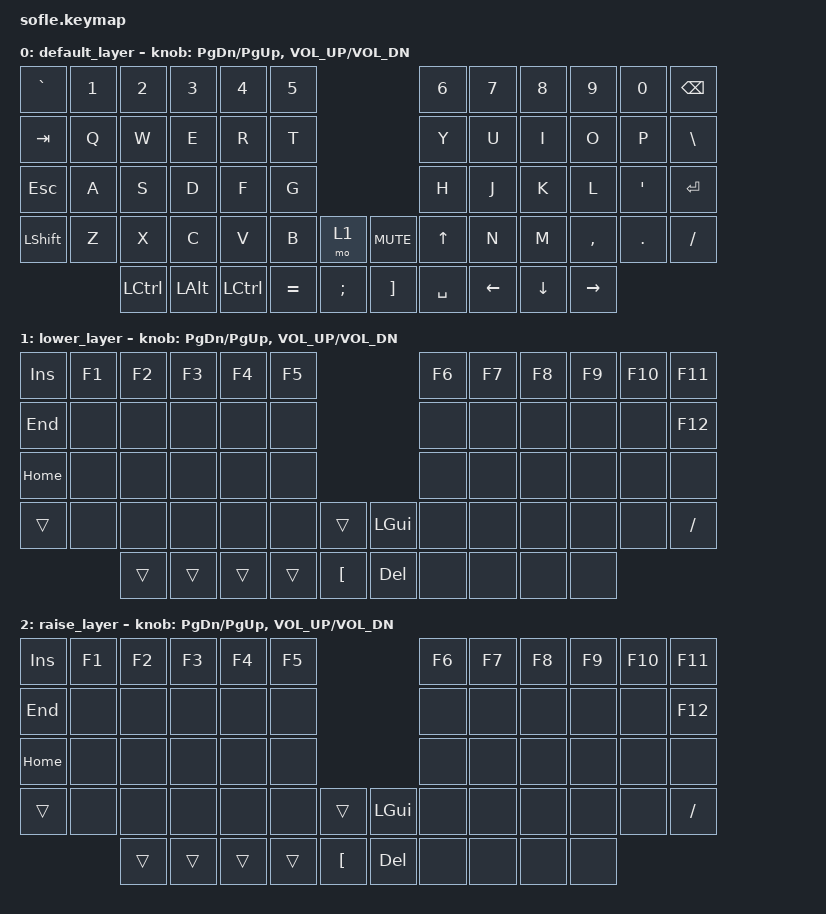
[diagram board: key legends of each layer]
/*
 * Copyright (c) 2020 The ZMK Contributors
 *
 * SPDX-License-Identifier: MIT
 */

#include <behaviors.dtsi>
#include <dt-bindings/zmk/bt.h>
#include <dt-bindings/zmk/ext_power.h>
#include <dt-bindings/zmk/keys.h>

/ {
    keymap {
        compatible = "zmk,keymap";

        default_layer {
            // ------------------------------------------------------------------------------------------------------------
            // |  /    |  1  |  2  |  3   |  4   |  5   |                         |  6   |  7    |  8    |  9   |   0   |       |
            // |  ESC  |  Q  |  W  |  E   |  R   |  T   |                         |  Y   |  U    |  I    |  O   |   P   | BKSPC |
            // |  TAB  |  A  |  S  |  D   |  F   |  G   |                         |  H   |  J    |  K    |  L   |   ;   |   '   |
            // | SHIFT |  Z  |  X  |  C   |  V   |  B   |  MUTE  |        | ExtPw |  N   |  M    |  ,    |  .   |   /   | SHIFT |
            //               | GUI | ALT  | CTRL | LOWER|  ENTER |        | SPACE | RAISE| CTRL  | ALT   | GUI  |

            bindings = <
&kp GRAVE  &kp N1  &kp N2    &kp N3    &kp N4     &kp N5                                   &kp N6  &kp N7     &kp N8     &kp N9    &kp N0    &kp BSPC
&kp TAB    &kp Q   &kp W     &kp E     &kp R      &kp T                                    &kp Y   &kp U      &kp I      &kp O     &kp P     &kp BSLH
&kp ESC    &kp A   &kp S     &kp D     &kp F      &kp G                                    &kp H   &kp J      &kp K      &kp L     &kp APOS  &kp ENTER
&kp LSHFT  &kp Z   &kp X     &kp C     &kp V      &kp B       &mo 1         &kp C_MUTE     &kp UP  &kp N      &kp M      &kp COMMA &kp DOT   &kp FSLH
                   &kp LCTRL &kp LALT  &kp LCTRL  &kp EQUAL   &kp SEMI      &kp RBKT       &kp SPACE  &kp LEFT   &kp DOWN   &kp RIGHT
            >;

            sensor-bindings = <&inc_dec_kp PAGE_DOWN PAGE_UP &inc_dec_kp C_VOL_UP C_VOL_DN>;
        };

        lower_layer {
            // TODO: Some binds are waiting for shifted keycode support.
            // ------------------------------------------------------------------------------------------------------------
            // |       |  F1 |  F2 |  F3  |  F4  |  F5  |                   |  F6  |  F7   |  F8   |  F9  |  F10  |  F11  |
            // | `     |   1 |   2 |   3  |   4  |   5  |                   |   6  |   7   |   8   |   9  |    0  |  F12  |
            // |       |  !  |  @  |  #   |  $   |  %   |                   |  ^   |  &    |  *    |  (   |   )   |   |   |
            // |       |  =  |  -  |  +   |  {   |  }   |        |  |       |  [   |  ]    |  ;    |  :   |   \   |       |
            //               |     |      |      |      |        |  |       |      |       |       |      |

            bindings = <
&kp INS  &kp F1     &kp F2     &kp F3       &kp F4    &kp F5                           &kp F6     &kp F7    &kp F8     &kp F9     &kp F10   &kp F11
&kp END  &none      &none      &none        &none     &none                            &none      &none     &none      &none      &none     &kp F12
&kp HOME &none      &none      &none        &none     &none                            &none      &none     &none      &none      &none     &none
&trans   &none      &none      &none        &none     &none    &trans      &kp LGUI    &none      &none     &none      &none      &none     &kp FSLH
                    &trans     &trans       &trans    &trans   &kp LBKT    &kp DEL     &none      &none     &none      &none
            >;

            sensor-bindings = <&inc_dec_kp PAGE_DOWN PAGE_UP &inc_dec_kp C_VOL_UP C_VOL_DN>;
        };

        raise_layer {
            // ------------------------------------------------------------------------------------------------------------
            // |BTCLR| BT1  | BT2  |  BT3  |  BT4  |  BT5 |                |      |      |       |      |       |       |
            // |     | INS  | PSCR | GUI   |       |      |                | PGUP |      |   ^   |      |       |       |
            // |     | ALT  | CTRL | SHIFT |       | CAPS |                | PGDN |   <- |   v   |  ->  |  DEL  | BKSPC |
            // |     | UNDO | CUT  | COPY  | PASTE |      |      |  |      |      |      |       |      |       |       |
            //              |      |       |       |      |      |  |      |      |      |       |      |

            bindings = <
&kp INS  &kp F1     &kp F2     &kp F3       &kp F4    &kp F5                           &kp F6     &kp F7    &kp F8     &kp F9     &kp F10   &kp F11
&kp END  &none      &none      &none        &none     &none                            &none      &none     &none      &none      &none     &kp F12
&kp HOME &none      &none      &none        &none     &none                            &none      &none     &none      &none      &none     &none
&trans   &none      &none      &none        &none     &none    &trans      &kp LGUI    &none      &none     &none      &none      &none     &kp FSLH
                    &trans     &trans       &trans    &trans   &kp LBKT    &kp DEL     &none      &none     &none      &none
            >;

            sensor-bindings = <&inc_dec_kp PAGE_DOWN PAGE_UP &inc_dec_kp C_VOL_UP C_VOL_DN>;
        };
    };
};
